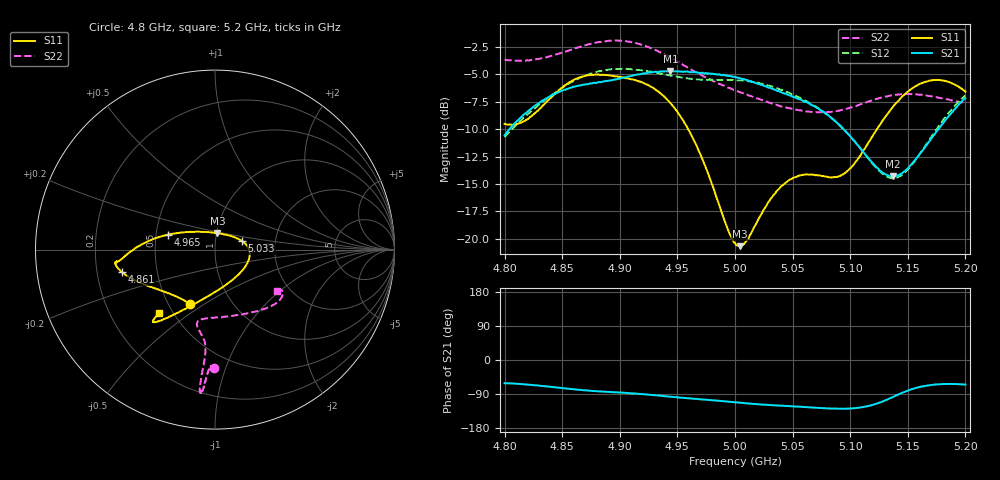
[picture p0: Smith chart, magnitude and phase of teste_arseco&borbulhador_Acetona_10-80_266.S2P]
! Network Analyzer HP8722D
! Hewlett-Packard
! Data name: Linha & Wilkinson
! Saver's name: Rodrigo Anjos
! Comments: Teste da utilização de aquisição
! continua pelo VNA HP8722D
! Time and date: 17/4/2025 16:34
!  Frequency  S11  S21  S12  S22
# HZ  S  MA R 50
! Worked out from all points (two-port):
!   401 points, 4.8 GHz to 5.2 GHz, reference 50 ohm
!   highest |S21| = -4.69 dB at 4.944 GHz (marker M1); lowest = -14.3 dB at 5.137 GHz (marker M2)
!   |S21| within 3 dB of the highest: 4.829 GHz to 5.065 GHz (236 MHz wide, 4.77 % of centre); 5.194727 GHz to end of sweep
!   lowest |S11| = -20.7 dB at 5.004 GHz (marker M3), VSWR 1.20, Z = 50.5 + j9.31 ohm
!   |S11| at or under -10 dB: 4.959 GHz to 5.123 GHz (163.9 MHz wide, 3.25 % of centre)
!   |S22| runs from -8.5 to -1.9 dB; largest |S21 - S12| = 0.87
!   S11 on the Smith chart (normalised r, x): 4.8 GHz: 0.64, -0.44; 4.861 GHz: 0.31, -0.11; 4.965 GHz: 0.58, +0.10; 5.033 GHz: 1.34, +0.13; 5.2 GHz: 0.42, -0.38
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4.8e9  0.3344 -114.4  0.297 -61.2  0.2908 -175.3  0.6573 -90.4
4.819e9  0.3496 -134.4  0.3763 -64.8  0.3656 -174.3  0.6516 -91.9
4.861e9  0.5338 -166.4  0.4944 -77.7  0.5268 -177.5  0.7388 -94.2
4.867e9  0.5484 -168.8  0.503 -79.2  0.5469 -178.7  0.757 -94.4
4.899e9  0.5483 -173.1  0.5363 -85.8  0.5955 174.8  0.8012 -95.9
4.934e9  0.4673 -179.0  0.578 -94.2  0.5701 171.4  0.7128 -96.1
4.944e9  0.4151 176.5  0.5825 -96.9  0.5542 171.5  0.6714 -95.9
4.965e9  0.2767 162.6  0.576 -102.6  0.5345 173.3  0.5788 -95.3
4.994e9  0.1092 116.7  0.5527 -109.9  0.5295 175.4  0.4891 -98.0
5e9  0.09527 96.6  0.548 -111.6  0.5295 175.5  0.4759 -99.4
5.004e9  0.09241 81.8  0.5413 -112.6  0.5273 175.6  0.4673 -100.2
5.01e9  0.09757 61.2  0.5299 -114.1  0.5251 175.4  0.4549 -101.6
5.033e9  0.157 18.0  0.4828 -119.4  0.4934 174.2  0.413 -103.3
5.049e9  0.1871 1.9  0.4478 -122.3  0.4579 173.8  0.3922 -99.6
5.067e9  0.1963 -17.2  0.4069 -125.4  0.4106 173.2  0.3785 -89.9
5.096e9  0.2002 -67.9  0.3092 -128.5  0.3091 174.6  0.3908 -67.5
5.122e9  0.3089 -108.4  0.2143 -116.2  0.212 -171.0  0.4335 -49.2
5.134e9  0.3804 -118.0  0.1934 -101.8  0.1899 -154.9  0.449 -43.1
5.137e9  0.3987 -119.8  0.1923 -97.9  0.189 -150.2  0.4522 -41.8
5.15e9  0.4687 -125.5  0.2094 -80.9  0.207 -130.5  0.4573 -37.0
5.17e9  0.5273 -130.0  0.284 -65.9  0.2895 -112.2  0.4473 -32.3
5.2e9  0.4686 -131.4  0.4383 -65.1  0.4507 -107.1  0.4155 -33.8
